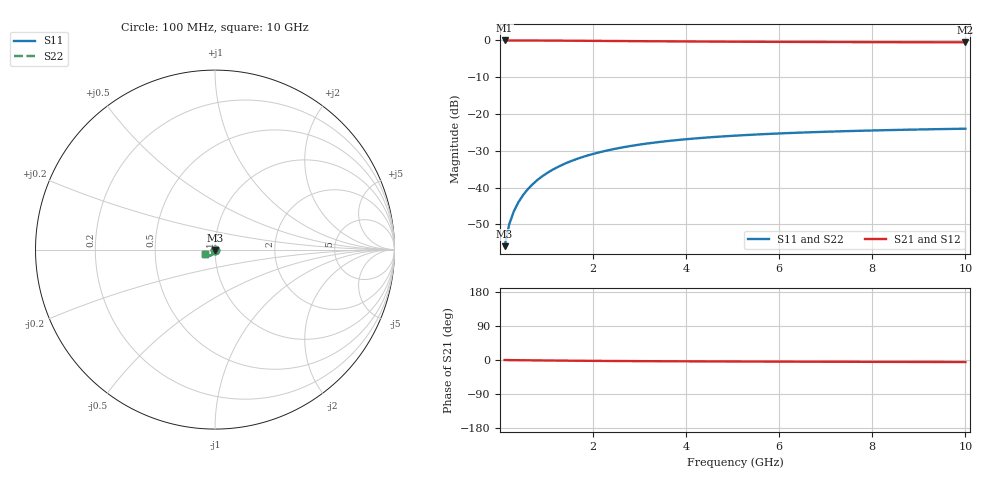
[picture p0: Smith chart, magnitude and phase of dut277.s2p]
! Touchstone file exported from HFSS 2024.1.0
!  File:  C:/UserFiles/LocalFiles/RDL_TSV_Batchsim/temp_TSV1_277_1778770195.aedt
!  Generated:  10:54:06 PM May 14, 2026
!  Design:  TSV1
!  Project:  temp_TSV1_277_1778770195
!  Setup:  Setup1
!  Solution:  Sweep
! Variables:
!  dtsv = 11.65um
!  hbump = 3um
!  htsv = 85.09um
!  lrdl = 252.1521522um
!  p = 40
!  p1 = 40.07um
!  t = 500um
!  trdl = 3um
!  wrdl = 24.89489489um
# GHz S MA R 50.000000
! Terminal data exported
! Port[1] = TSV22_T1
! Port[2] = TSV22_T2
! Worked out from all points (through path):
!   100 points, 100 MHz to 10 GHz, reference 50 ohm
!   highest |S21| = 0.00 dB at 100 MHz (marker M1); lowest = -0.5 dB at 10 GHz (marker M2)
!   lowest |S11| = -55.9 dB at 100 MHz (marker M3), VSWR 1.00, Z = 50 - j0.159 ohm
!   |S11| at or under -10 dB: start of sweep to end of sweep
!   |S22| runs from -55.9 to -24.0 dB; largest |S21 - S12| = 7.5e-15
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0.1  0.001595 -87.2  0.9998 -0.1  0.9998 -0.1  0.001595 -87.2
! Gamma 0 0 0 0
! Port Impedance 50 0 50 0
0.2  0.003185 -90.6  0.9997 -0.3  0.9997 -0.3  0.003185 -90.6
0.3  0.004777 -92.6  0.9995 -0.4  0.9995 -0.4  0.004777 -92.6
0.4  0.006366 -94.3  0.9992 -0.5  0.9992 -0.5  0.006366 -94.3
0.5  0.007945 -95.9  0.9988 -0.7  0.9988 -0.7  0.007945 -95.9
0.6  0.009511 -97.5  0.9984 -0.8  0.9984 -0.8  0.009511 -97.5
0.7  0.01106 -99.0  0.9979 -0.9  0.9979 -0.9  0.01106 -99.0
0.8  0.01259 -100.4  0.9973 -1.0  0.9973 -1.0  0.01259 -100.4
0.9  0.01409 -101.9  0.9967 -1.1  0.9967 -1.1  0.01409 -101.9
1.1  0.01702 -104.7  0.9953 -1.4  0.9953 -1.4  0.01702 -104.7
1.4  0.02118 -108.6  0.9929 -1.7  0.9929 -1.7  0.02118 -108.6
1.6  0.0238 -111.2  0.9911 -1.9  0.9911 -1.9  0.0238 -111.2
1.8  0.02628 -113.5  0.9893 -2.1  0.9893 -2.1  0.02628 -113.5
2.1  0.02973 -116.9  0.9864 -2.4  0.9864 -2.4  0.02973 -116.9
2.5  0.03388 -121.1  0.9825 -2.7  0.9825 -2.7  0.03388 -121.1
2.9  0.03751 -124.8  0.9786 -2.9  0.9786 -2.9  0.03751 -124.8
3.4  0.04144 -128.9  0.9741 -3.2  0.9741 -3.2  0.04144 -128.9
4.2  0.04654 -134.5  0.9676 -3.6  0.9676 -3.6  0.04653 -134.5
5.1  0.05095 -139.6  0.9615 -3.9  0.9615 -3.9  0.05095 -139.6
6.7  0.05653 -146.5  0.9532 -4.5  0.9532 -4.5  0.05652 -146.5
8.4  0.06048 -151.9  0.947 -5.0  0.947 -5.0  0.06048 -151.9
10  0.06309 -155.8  0.9427 -5.5  0.9427 -5.5  0.06309 -155.8
